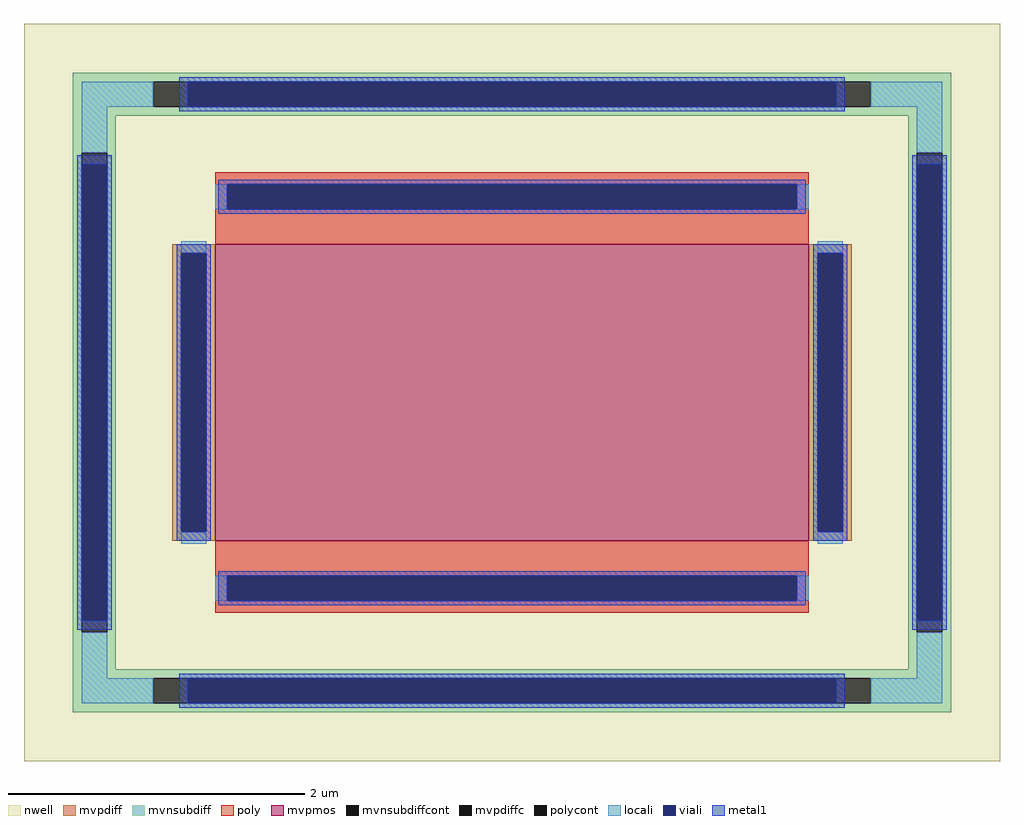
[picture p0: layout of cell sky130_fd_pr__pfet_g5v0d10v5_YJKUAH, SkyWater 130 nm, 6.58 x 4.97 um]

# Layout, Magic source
magic
tech sky130A
magscale 1 2
<< nwell >>
rect -658 -497 658 497
<< mvpmos >>
rect -400 -200 400 200
<< mvpdiff >>
rect -458 188 -400 200
rect -458 -188 -446 188
rect -412 -188 -400 188
rect -458 -200 -400 -188
rect 400 188 458 200
rect 400 -188 412 188
rect 446 -188 458 188
rect 400 -200 458 -188
<< mvpdiffc >>
rect -446 -188 -412 188
rect 412 -188 446 188
<< mvnsubdiff >>
rect -592 419 592 431
rect -592 385 -484 419
rect 484 385 592 419
rect -592 373 592 385
rect -592 323 -534 373
rect -592 -323 -580 323
rect -546 -323 -534 323
rect 534 323 592 373
rect -592 -373 -534 -323
rect 534 -323 546 323
rect 580 -323 592 323
rect 534 -373 592 -323
rect -592 -385 592 -373
rect -592 -419 -484 -385
rect 484 -419 592 -385
rect -592 -431 592 -419
<< mvnsubdiffcont >>
rect -484 385 484 419
rect -580 -323 -546 323
rect 546 -323 580 323
rect -484 -419 484 -385
<< poly >>
rect -400 281 400 297
rect -400 247 -384 281
rect 384 247 400 281
rect -400 200 400 247
rect -400 -247 400 -200
rect -400 -281 -384 -247
rect 384 -281 400 -247
rect -400 -297 400 -281
<< polycont >>
rect -384 247 384 281
rect -384 -281 384 -247
<< locali >>
rect -580 385 -484 419
rect 484 385 580 419
rect -580 323 -546 385
rect 546 323 580 385
rect -400 247 -384 281
rect 384 247 400 281
rect -446 188 -412 204
rect -446 -204 -412 -188
rect 412 188 446 204
rect 412 -204 446 -188
rect -400 -281 -384 -247
rect 384 -281 400 -247
rect -580 -385 -546 -323
rect 546 -385 580 -323
rect -580 -419 -484 -385
rect 484 -419 580 -385
<< viali >>
rect -437 385 437 419
rect -580 -308 -546 308
rect -384 247 384 281
rect -446 -188 -412 188
rect 412 -188 446 188
rect -384 -281 384 -247
rect 546 -308 580 308
rect -437 -419 437 -385
<< metal1 >>
rect -449 419 449 425
rect -449 385 -437 419
rect 437 385 449 419
rect -449 379 449 385
rect -586 308 -540 320
rect -586 -308 -580 308
rect -546 -308 -540 308
rect 540 308 586 320
rect -396 281 396 287
rect -396 247 -384 281
rect 384 247 396 281
rect -396 241 396 247
rect -452 188 -406 200
rect -452 -188 -446 188
rect -412 -188 -406 188
rect -452 -200 -406 -188
rect 406 188 452 200
rect 406 -188 412 188
rect 446 -188 452 188
rect 406 -200 452 -188
rect -396 -247 396 -241
rect -396 -281 -384 -247
rect 384 -281 396 -247
rect -396 -287 396 -281
rect -586 -320 -540 -308
rect 540 -308 546 308
rect 580 -308 586 308
rect 540 -320 586 -308
rect -449 -385 449 -379
rect -449 -419 -437 -385
rect 437 -419 449 -385
rect -449 -425 449 -419
<< properties >>
string FIXED_BBOX -563 -402 563 402
string gencell sky130_fd_pr__pfet_g5v0d10v5
string library sky130
string parameters w 2 l 4 m 1 nf 1 diffcov 100 polycov 100 guard 1 glc 1 grc 1 gtc 1 gbc 1 tbcov 100 rlcov 100 topc 1 botc 1 poverlap 0 doverlap 1 lmin 0.50 wmin 0.42 compatible {sky130_fd_pr__pfet_01v8  sky130_fd_pr__pfet_01v8_lvt sky130_fd_pr__pfet_01v8_hvt  sky130_fd_pr__pfet_g5v0d10v5} full_metal 1 viasrc 100 viadrn 100 viagate 100 viagb 80 viagr 80 viagl 80 viagt 80
<< end >>
